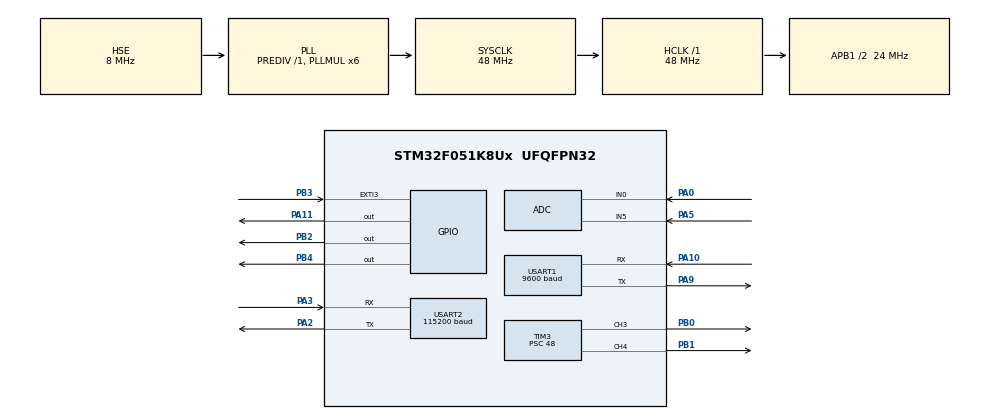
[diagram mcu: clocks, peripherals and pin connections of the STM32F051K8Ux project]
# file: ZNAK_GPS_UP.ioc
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ADC.DMAContinuousRequests=DISABLE
ADC.ExternalTrigConv=ADC_EXTERNALTRIGCONV_T15_TRGO
ADC.SamplingTime=ADC_SAMPLETIME_28CYCLES_5
Dma.ADC.0.Direction=DMA_PERIPH_TO_MEMORY
Dma.ADC.0.Instance=DMA1_Channel1
Dma.ADC.0.MemDataAlignment=DMA_MDATAALIGN_HALFWORD
Dma.ADC.0.MemInc=DMA_MINC_ENABLE
Dma.ADC.0.Mode=DMA_CIRCULAR
Dma.ADC.0.PeriphDataAlignment=DMA_PDATAALIGN_HALFWORD
Dma.ADC.0.PeriphInc=DMA_PINC_DISABLE
Dma.ADC.0.Priority=DMA_PRIORITY_LOW
Dma.Request0=ADC
FREERTOS.Tasks01=defaultTask,0,128,StartDefaultTask,As weak,NULL,Dynamic,NULL,NULL;myTask03,0,512,GPS_Task,As external,NULL,Dynamic,NULL,NULL
FREERTOS.configUSE_TIMERS=0
IWDG.Prescaler=IWDG_PRESCALER_256
Mcu.Family=STM32F0
Mcu.Name=STM32F051K8Ux
Mcu.Package=UFQFPN32
NVIC.DMA1_Channel1_IRQn=true\:0\:0\:false\:false\:true\:true\:false\:true
NVIC.EXTI2_3_IRQn=true\:3\:0\:false\:true\:true\:1\:true\:true\:true
NVIC.TIM1_BRK_UP_TRG_COM_IRQn=true\:0\:0\:false\:false\:true\:false\:false\:true
NVIC.TIM2_IRQn=true\:3\:0\:false\:false\:true\:true\:true\:true
NVIC.TIM3_IRQn=true\:3\:0\:false\:true\:true\:2\:true\:true\:true
NVIC.TimeBase=TIM1_BRK_UP_TRG_COM_IRQn
NVIC.TimeBaseIP=TIM1
NVIC.USART1_IRQn=true\:3\:0\:false\:true\:true\:3\:true\:true\:true
NVIC.USART2_IRQn=true\:3\:0\:false\:false\:true\:true\:true\:true
PA0.Mode=IN0
PA0.Signal=ADC_IN0
PA10.Mode=Asynchronous
PA10.Signal=USART1_RX
PA11.PinState=GPIO_PIN_RESET
PA11.Signal=GPIO_Output
PA13.Mode=Serial_Wire
PA13.Signal=SYS_SWDIO
PA14.Mode=Serial_Wire
PA14.Signal=SYS_SWCLK
PA2.Mode=Asynchronous
PA2.Signal=USART2_TX
PA3.Mode=Asynchronous
PA3.Signal=USART2_RX
PA5.Mode=IN5
PA5.Signal=ADC_IN5
PA9.Mode=Asynchronous
PA9.Signal=USART1_TX
PB0.Signal=S_TIM3_CH3
PB1.GPIO_PuPd=GPIO_NOPULL
PB1.Signal=S_TIM3_CH4
PB2.GPIO_Speed=GPIO_SPEED_FREQ_MEDIUM
PB2.PinState=GPIO_PIN_RESET
PB2.Signal=GPIO_Output
PB3.GPIO_ModeDefaultEXTI=GPIO_MODE_IT_FALLING
PB3.Signal=GPXTI3
PB4.PinState=GPIO_PIN_SET
PB4.Signal=GPIO_Output
PF0-OSC_IN.Mode=HSE-External-Oscillator
PF0-OSC_IN.Signal=RCC_OSC_IN
PF1-OSC_OUT.Mode=HSE-External-Oscillator
PF1-OSC_OUT.Signal=RCC_OSC_OUT
ProjectManager.HeapSize=0x200
ProjectManager.StackSize=0x400
ProjectManager.TargetToolchain=STM32CubeIDE
RCC.AHBFreq_Value=48000000
RCC.APB1CLKDivider=RCC_HCLK_DIV2
RCC.APB1Freq_Value=24000000
RCC.APB1TimFreq_Value=48000000
RCC.HCLKFreq_Value=48000000
RCC.I2c1ClockSelection=RCC_I2C1CLKSOURCE_SYSCLK
RCC.PLLMUL=RCC_PLL_MUL6
RCC.PLLSourceVirtual=RCC_PLLSOURCE_HSE
RCC.SYSCLKFreq_VALUE=48000000
RCC.SYSCLKSource=RCC_SYSCLKSOURCE_PLLCLK
RCC.Usart1ClockSelection=RCC_USART1CLKSOURCE_HSI
SH.S_TIM3_CH3.0=TIM3_CH3,PWM Generation3 CH3
SH.S_TIM3_CH4.0=TIM3_CH4,PWM Generation4 CH4
TIM2.AutoReloadPreload=TIM_AUTORELOAD_PRELOAD_ENABLE
TIM2.Channel-PWM\ Generation1\ No\ Output=TIM_CHANNEL_1
TIM2.Period=15278
TIM2.Prescaler=48
TIM2.Pulse-PWM\ Generation1\ No\ Output=200
TIM2.TIM_MasterOutputTrigger=TIM_TRGO_UPDATE
TIM3.AutoReloadPreload=TIM_AUTORELOAD_PRELOAD_ENABLE
TIM3.Channel-PWM\ Generation3\ CH3=TIM_CHANNEL_3
TIM3.Channel-PWM\ Generation4\ CH4=TIM_CHANNEL_4
TIM3.ClockDivision=TIM_CLOCKDIVISION_DIV2
TIM3.OCFastMode_PWM-PWM\ Generation3\ CH3=TIM_OCFAST_ENABLE
TIM3.OCFastMode_PWM-PWM\ Generation4\ CH4=TIM_OCFAST_ENABLE
TIM3.Period=1000
TIM3.Prescaler=48
TIM3.Pulse-PWM\ Generation3\ CH3=200
TIM3.Pulse-PWM\ Generation4\ CH4=200
TIM3.TIM_MasterOutputTrigger=TIM_TRGO_UPDATE
USART1.AutoBaudRateEnableParam=UART_ADVFEATURE_AUTOBAUDRATE_ENABLE
USART1.AutoBaudRateMode=UART_ADVFEATURE_AUTOBAUDRATE_ONFALLINGEDGE
USART1.BaudRate=9600
USART1.DMADisableonRxErrorParam=ADVFEATURE_DMA_DISABLEONRXERROR
USART1.OneBitSampling=UART_ONE_BIT_SAMPLE_DISABLE
USART1.OverSampling=UART_OVERSAMPLING_8
USART1.OverrunDisableParam=ADVFEATURE_OVERRUN_ENABLE
USART1.VirtualMode-Asynchronous=VM_ASYNC
USART1.WordLength=WORDLENGTH_8B
USART2.BaudRate=115200
USART2.VirtualMode-Asynchronous=VM_ASYNC
VP_ADC_TempSens_Input.Mode=IN-TempSens
VP_FREERTOS_VS_CMSIS_V1.Mode=CMSIS_V1
VP_IWDG_VS_IWDG.Mode=IWDG_Activate
VP_SYS_VS_tim1.Mode=TIM1
VP_TIM2_VS_ClockSourceINT.Mode=Internal
VP_TIM2_VS_no_output1.Mode=PWM Generation1 No Output
board=custom

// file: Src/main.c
/* USER CODE BEGIN Header */
/**
  ******************************************************************************
  * @file           : main.c
  * @brief          : Main program body
  ******************************************************************************
  ** This notice applies to any and all portions of this file
  * that are not between comment pairs USER CODE BEGIN and
  * USER CODE END. Other portions of this file, whether
  * inserted by the user or by software development tools
  * are owned by their respective copyright owners.
  *
  * COPYRIGHT(c) 2019 STMicroelectronics
  *
  * Redistribution and use in source and binary forms, with or without modification,
  * are permitted provided that the following conditions are met:
  *   1. Redistributions of source code must retain the above copyright notice,
  *      this list of conditions and the following disclaimer.
  *   2. Redistributions in binary form must reproduce the above copyright notice,
  *      this list of conditions and the following disclaimer in the documentation
  *      and/or other materials provided with the distribution.
  *   3. Neither the name of STMicroelectronics nor the names of its contributors
  *      may be used to endorse or promote products derived from this software
  *      without specific prior written permission.
  *
  * THIS SOFTWARE IS PROVIDED BY THE COPYRIGHT HOLDERS AND CONTRIBUTORS "AS IS"
  * AND ANY EXPRESS OR IMPLIED WARRANTIES, INCLUDING, BUT NOT LIMITED TO, THE
  * IMPLIED WARRANTIES OF MERCHANTABILITY AND FITNESS FOR A PARTICULAR PURPOSE ARE
  * DISCLAIMED. IN NO EVENT SHALL THE COPYRIGHT HOLDER OR CONTRIBUTORS BE LIABLE
  * FOR ANY DIRECT, INDIRECT, INCIDENTAL, SPECIAL, EXEMPLARY, OR CONSEQUENTIAL
  * DAMAGES (INCLUDING, BUT NOT LIMITED TO, PROCUREMENT OF SUBSTITUTE GOODS OR
  * SERVICES; LOSS OF USE, DATA, OR PROFITS; OR BUSINESS INTERRUPTION) HOWEVER
  * CAUSED AND ON ANY THEORY OF LIABILITY, WHETHER IN CONTRACT, STRICT LIABILITY,
  * OR TORT (INCLUDING NEGLIGENCE OR OTHERWISE) ARISING IN ANY WAY OUT OF THE USE
  * OF THIS SOFTWARE, EVEN IF ADVISED OF THE POSSIBILITY OF SUCH DAMAGE.
  *
  ******************************************************************************
  */
/* USER CODE END Header */

#include "main.h"
#include "cmsis_os.h"
#include "adc.h"
#include "dma.h"
#include "iwdg.h"
#include "tim.h"
#include "usart.h"
#include "gpio.h"

/* USER CODE BEGIN Includes */
#include "iwdg.h"
#include "KL3333.H"
/* USER CODE END Includes */

/* USER CODE BEGIN PD */
 #define B_br  28 //60
 #define B_br0  0
 #define W_br  28 //60
 #define W_br0 28 //15
 #define   PPSSycle    2
 #define   Temp_T2     (unsigned int)120*PPSSycle
 #define   Temp_T1     (unsigned int)25*PPSSycle
 #define BrigthChageSpeed 2
 #define RISE 		1
 #define FALL		0

/* USER CODE END PD */

/* USER CODE BEGIN PV */
static uint8_t ucPPScounter=0;
static unsigned char smenaPPS=0;
static uint8_t  B_ON=0;
static   unsigned int time_4ms;
static   unsigned char Ltime_4msl;
static uint8_t PPS_OK =0;
static uint8_t PPS_START=0;
/* USER CODE END PV */

void SystemClock_Config(void);
void MX_FREERTOS_Init(void);
static void MX_NVIC_Init(void);

/* USER CODE BEGIN 0 */

void vmainPPSSet()
{
	ucPPScounter++;
	PPS_START =1;
	if (B_ON)
	{
	   ucPPScounter=PPSSycle<<1;
	   B_ON=0;
    }
	if ( ucPPScounter >= PPSSycle)
	{
	   ucPPScounter=0;
	   smenaPPS=1;
	   PPS_OK=1;
    }
}

void SetB_ON()
{
	B_ON=1;

}

uint8_t GetPPS_OK()
{
 return PPS_OK;

}

void TimerInc()
{

	 time_4ms++;
	 Ltime_4msl++;
}

void StartDefaultTask(void const * argument)
{
	unsigned char _jarcostjB_mas[14]= {0,0,0,0,0,0,0,    B_br,B_br,B_br,B_br,B_br,B_br,B_br};   // REG_3
    uint8_t  step=0;
    uint8_t ucRiseFall =RISE;
    uint8_t  Mig_ON_nOFF=1;
    B_ON=0;
    SetPWM3(W_br);
    time_4ms=0;
    Ltime_4msl=0;

	while(1)
	{
		ResetWDT();
		if(smenaPPS)   //Выставлен флаг PPS
		{
	        Mig_ON_nOFF=0;
	        smenaPPS=0;
	        time_4ms=Temp_T2+1;
		}
		if (Mig_ON_nOFF==0)
		{
				if ( time_4ms ==Temp_T1 )
				{
				   Mig_ON_nOFF=1;
				   ucRiseFall = FALL;
				   Ltime_4msl=0;
				}
				if ( time_4ms>=Temp_T2 )
				{
					Mig_ON_nOFF=1;
					ucRiseFall = RISE;
					Ltime_4msl=0;
					time_4ms=0;
					if (!PPS_START) PPS_OK=0;
					PPS_START=0;
				}
		}
		else
			//Запуск процесса плавного увеличения и уменьшения яркост
				if (Ltime_4msl >=BrigthChageSpeed)
				{
					Ltime_4msl=0;
				   	if (ucRiseFall==RISE)
				   	   //Если увеличение яркости, пробигаем массив с лева на право
				  	   SetPWM4(_jarcostjB_mas[step]);

				   	else
				   	  //Если уменьшение яркости, пробигаем массив с права на лево
				   	   SetPWM4(_jarcostjB_mas[13-step]);

					 if (++step>13)
					 {
					    step=0;
						Mig_ON_nOFF=0;
					 }
				}
	}
}
/* USER CODE END 0 */

int main(void)
{

  /* MCU Configuration--------------------------------------------------------*/

  /* Reset of all peripherals, Initializes the Flash interface and the Systick. */
  HAL_Init();

  /* Configure the system clock */
  SystemClock_Config();

  /* Initialize all configured peripherals */
  MX_GPIO_Init();
  MX_DMA_Init();
  MX_TIM3_Init();
  MX_USART1_UART_Init();
  MX_TIM2_Init();
  MX_IWDG_Init();
  MX_USART2_UART_Init();
  MX_ADC_Init();

  /* Initialize interrupts */
  MX_NVIC_Init();
  /* USER CODE BEGIN 2 */
  StartRecieve();
  SetPWM4(0);
  SetPWM3(0);
  /* USER CODE END 2 */

  /* Call init function for freertos objects (in freertos.c) */
  MX_FREERTOS_Init();
  /* Start scheduler */
  osKernelStart();

  /* We should never get here as control is now taken by the scheduler */
  /* Infinite loop */
  while (1)
  {
  }

}

void SystemClock_Config(void)
{
  RCC_OscInitTypeDef RCC_OscInitStruct = {0};
  RCC_ClkInitTypeDef RCC_ClkInitStruct = {0};
  RCC_PeriphCLKInitTypeDef PeriphClkInit = {0};

  /** Initializes the CPU, AHB and APB busses clocks
  */
  RCC_OscInitStruct.OscillatorType = RCC_OSCILLATORTYPE_HSI|RCC_OSCILLATORTYPE_HSI14
                              |RCC_OSCILLATORTYPE_LSI|RCC_OSCILLATORTYPE_HSE;
  RCC_OscInitStruct.HSEState = RCC_HSE_ON;
  RCC_OscInitStruct.HSIState = RCC_HSI_ON;
  RCC_OscInitStruct.HSI14State = RCC_HSI14_ON;
  RCC_OscInitStruct.HSICalibrationValue = RCC_HSICALIBRATION_DEFAULT;
  RCC_OscInitStruct.HSI14CalibrationValue = 16;
  RCC_OscInitStruct.LSIState = RCC_LSI_ON;
  RCC_OscInitStruct.PLL.PLLState = RCC_PLL_ON;
  RCC_OscInitStruct.PLL.PLLSource = RCC_PLLSOURCE_HSE;
  RCC_OscInitStruct.PLL.PLLMUL = RCC_PLL_MUL6;
  RCC_OscInitStruct.PLL.PREDIV = RCC_PREDIV_DIV1;
  if (HAL_RCC_OscConfig(&RCC_OscInitStruct) != HAL_OK)
  {
    Error_Handler();
  }
  /** Initializes the CPU, AHB and APB busses clocks
  */
  RCC_ClkInitStruct.ClockType = RCC_CLOCKTYPE_HCLK|RCC_CLOCKTYPE_SYSCLK
                              |RCC_CLOCKTYPE_PCLK1;
  RCC_ClkInitStruct.SYSCLKSource = RCC_SYSCLKSOURCE_PLLCLK;
  RCC_ClkInitStruct.AHBCLKDivider = RCC_SYSCLK_DIV1;
  RCC_ClkInitStruct.APB1CLKDivider = RCC_HCLK_DIV2;

  if (HAL_RCC_ClockConfig(&RCC_ClkInitStruct, FLASH_LATENCY_1) != HAL_OK)
  {
    Error_Handler();
  }
  PeriphClkInit.PeriphClockSelection = RCC_PERIPHCLK_USART1;
  PeriphClkInit.Usart1ClockSelection = RCC_USART1CLKSOURCE_HSI;
  if (HAL_RCCEx_PeriphCLKConfig(&PeriphClkInit) != HAL_OK)
  {
    Error_Handler();
  }
}

/**
  * @brief NVIC Configuration.
  * @retval None
  */
static void MX_NVIC_Init(void)
{
  /* EXTI2_3_IRQn interrupt configuration */
  HAL_NVIC_SetPriority(EXTI2_3_IRQn, 3, 0);
  HAL_NVIC_EnableIRQ(EXTI2_3_IRQn);
  /* TIM3_IRQn interrupt configuration */
  HAL_NVIC_SetPriority(TIM3_IRQn, 3, 0);
  HAL_NVIC_EnableIRQ(TIM3_IRQn);
  /* USART1_IRQn interrupt configuration */
  HAL_NVIC_SetPriority(USART1_IRQn, 3, 0);
  HAL_NVIC_EnableIRQ(USART1_IRQn);
}

 /**
  * @brief  Period elapsed callback in non blocking mode
  * @note   This function is called  when TIM1 interrupt took place, inside
  * HAL_TIM_IRQHandler(). It makes a direct call to HAL_IncTick() to increment
  * a global variable "uwTick" used as application time base.
  * @param  htim : TIM handle
  * @retval None
  */
void HAL_TIM_PeriodElapsedCallback(TIM_HandleTypeDef *htim)
{
  if (htim->Instance == TIM1) {
    HAL_IncTick();
  }
}

void Error_Handler(void)
{
}

/************************ (C) COPYRIGHT STMicroelectronics *****END OF FILE****/

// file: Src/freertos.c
/* USER CODE BEGIN Header */
/**
  ******************************************************************************
  * File Name          : freertos.c
  * Description        : Code for freertos applications
  ******************************************************************************
  * This notice applies to any and all portions of this file
  * that are not between comment pairs USER CODE BEGIN and
  * USER CODE END. Other portions of this file, whether
  * inserted by the user or by software development tools
  * are owned by their respective copyright owners.
  *
  * Copyright (c) 2020 STMicroelectronics International N.V.
  * All rights reserved.
  *
  * Redistribution and use in source and binary forms, with or without
  * modification, are permitted, provided that the following conditions are met:
  *
  * 1. Redistribution of source code must retain the above copyright notice,
  *    this list of conditions and the following disclaimer.
  * 2. Redistributions in binary form must reproduce the above copyright notice,
  *    this list of conditions and the following disclaimer in the documentation
  *    and/or other materials provided with the distribution.
  * 3. Neither the name of STMicroelectronics nor the names of other
  *    contributors to this software may be used to endorse or promote products
  *    derived from this software without specific written permission.
  * 4. This software, including modifications and/or derivative works of this
  *    software, must execute solely and exclusively on microcontroller or
  *    microprocessor devices manufactured by or for STMicroelectronics.
  * 5. Redistribution and use of this software other than as permitted under
  *    this license is void and will automatically terminate your rights under
  *    this license.
  *
  * THIS SOFTWARE IS PROVIDED BY STMICROELECTRONICS AND CONTRIBUTORS "AS IS"
  * AND ANY EXPRESS, IMPLIED OR STATUTORY WARRANTIES, INCLUDING, BUT NOT
  * LIMITED TO, THE IMPLIED WARRANTIES OF MERCHANTABILITY, FITNESS FOR A
  * PARTICULAR PURPOSE AND NON-INFRINGEMENT OF THIRD PARTY INTELLECTUAL PROPERTY
  * RIGHTS ARE DISCLAIMED TO THE FULLEST EXTENT PERMITTED BY LAW. IN NO EVENT
  * SHALL STMICROELECTRONICS OR CONTRIBUTORS BE LIABLE FOR ANY DIRECT, INDIRECT,
  * INCIDENTAL, SPECIAL, EXEMPLARY, OR CONSEQUENTIAL DAMAGES (INCLUDING, BUT NOT
  * LIMITED TO, PROCUREMENT OF SUBSTITUTE GOODS OR SERVICES; LOSS OF USE, DATA,
  * OR PROFITS; OR BUSINESS INTERRUPTION) HOWEVER CAUSED AND ON ANY THEORY OF
  * LIABILITY, WHETHER IN CONTRACT, STRICT LIABILITY, OR TORT (INCLUDING
  * NEGLIGENCE OR OTHERWISE) ARISING IN ANY WAY OUT OF THE USE OF THIS SOFTWARE,
  * EVEN IF ADVISED OF THE POSSIBILITY OF SUCH DAMAGE.
  *
  ******************************************************************************
  */
/* USER CODE END Header */

#include "FreeRTOS.h"
#include "task.h"
#include "main.h"
#include "cmsis_os.h"

/* USER CODE BEGIN Includes */
#include "KL3333.H"
/* USER CODE END Includes */

osThreadId defaultTaskHandle;
osThreadId myTask03Handle;

void StartDefaultTask(void const * argument);
extern void GPS_Task(void const * argument);

void MX_FREERTOS_Init(void); /* (MISRA C 2004 rule 8.1) */

/* GetIdleTaskMemory prototype (linked to static allocation support) */
void vApplicationGetIdleTaskMemory( StaticTask_t **ppxIdleTaskTCBBuffer, StackType_t **ppxIdleTaskStackBuffer, uint32_t *pulIdleTaskStackSize );

/* USER CODE BEGIN GET_IDLE_TASK_MEMORY */
static StaticTask_t xIdleTaskTCBBuffer;
static StackType_t xIdleStack[configMINIMAL_STACK_SIZE];

void vApplicationGetIdleTaskMemory( StaticTask_t **ppxIdleTaskTCBBuffer, StackType_t **ppxIdleTaskStackBuffer, uint32_t *pulIdleTaskStackSize )
{
  *ppxIdleTaskTCBBuffer = &xIdleTaskTCBBuffer;
  *ppxIdleTaskStackBuffer = &xIdleStack[0];
  *pulIdleTaskStackSize = configMINIMAL_STACK_SIZE;
  /* place for user code */
}
/* USER CODE END GET_IDLE_TASK_MEMORY */

void MX_FREERTOS_Init(void) {

  /* Create the thread(s) */
  /* definition and creation of defaultTask */
  osThreadDef(defaultTask, StartDefaultTask, osPriorityNormal, 0, 128);
  defaultTaskHandle = osThreadCreate(osThread(defaultTask), NULL);

  /* definition and creation of myTask03 */
  osThreadDef(myTask03, GPS_Task, osPriorityNormal, 0, 512);
  myTask03Handle = osThreadCreate(osThread(myTask03), NULL);

}

__weak void StartDefaultTask(void const * argument)
{
  for(;;)
  {
  }
}

/************************ (C) COPYRIGHT STMicroelectronics *****END OF FILE****/
